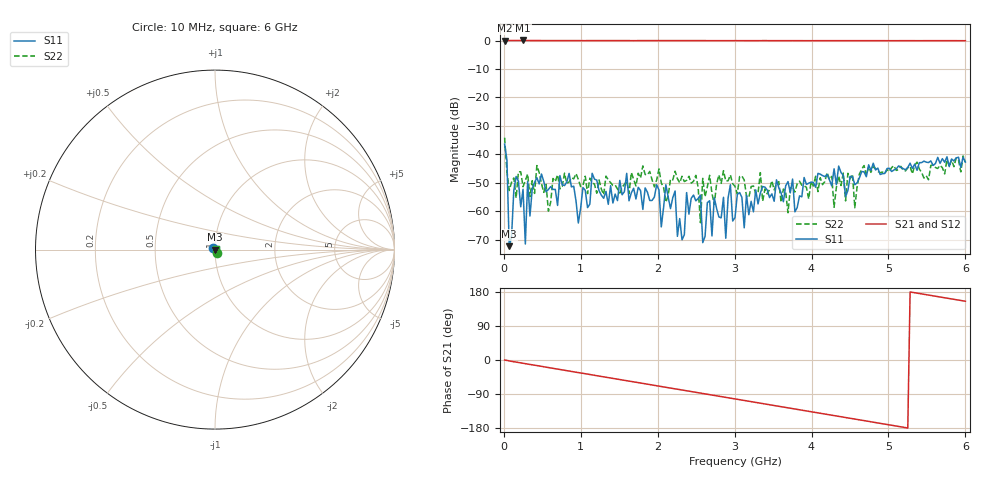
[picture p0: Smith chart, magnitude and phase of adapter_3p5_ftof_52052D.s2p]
!Keysight Technologies,N5245B,MY52501319,Z.13.01.242
!Date: Wednesday, March 26, 2025 08:57:02
!Correction: S11(Full 2 Port(1,2))
!S21(Full 2 Port(1,2))
!S12(Full 2 Port(1,2))
!S22(Full 2 Port(1,2))
!S2P File: Measurements: S11, S21, S12, S22:
# Hz S  RI  R 50
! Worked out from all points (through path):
!   201 points, 10 MHz to 6 GHz, reference 50 ohm
!   highest |S21| = 0.03 dB at 249.6 MHz (marker M1); lowest = -0.1 dB at 10 MHz (marker M2)
!   group delay of S21, straight-line fit = 94.9 ps
!   lowest |S11| = -72.2 dB at 69.9 MHz (marker M3), VSWR 1.00, Z = 50 - j0.0201 ohm
!   |S11| at or under -10 dB: start of sweep to end of sweep
!   |S22| runs from -64.0 to -34.1 dB; largest |S21 - S12| = 0.013
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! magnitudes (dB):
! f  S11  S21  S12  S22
! 10 MHz  -36.4  -0.1  0.0  -34.1
! 39.95 MHz  -41.9  0.0  0.0  -45.9
! 69.9 MHz  -72.2  0.0  0.0  -52.7
! 159.8 MHz  -47.8  0.0  0.0  -55.3
! 249.6 MHz  -52.3  0.0  0.0  -51.4
! 279.6 MHz  -71.5  0.0  0.0  -49.2
! 309.5 MHz  -49.4  0.0  0.0  -46.9
! 339.4 MHz  -61.7  0.0  0.0  -54.8
! 848.6 MHz  -46.7  0.0  0.0  -49.7
! 968.4 MHz  -64.1  0.0  0.0  -48.8
! 1.028 GHz  -51.7  0.0  0.0  -50.9
! 2.017 GHz  -52.5  0.0  0.0  -45.1
! 2.226 GHz  -52.9  0.0  0.0  -45.9
! 2.316 GHz  -70.0  0.0  0.0  -47.7
! 2.376 GHz  -53.4  0.0  0.0  -49.1
! 2.556 GHz  -54.3  0.0  0.0  -64.0
! 2.586 GHz  -71.0  0.0  0.0  -48.4
! 2.676 GHz  -56.3  -0.1  0.0  -47.4
! 3.005 GHz  -62.2  -0.1  0.0  -51.2
! 4.023 GHz  -49.9  0.0  0.0  -51.1
! 5.012 GHz  -44.9  -0.1  0.0  -46.1
! 6 GHz  -42.7  -0.1  0.0  -42.8
